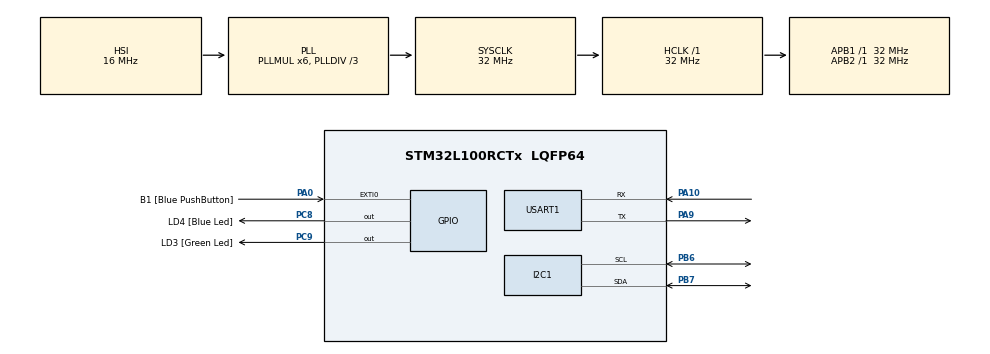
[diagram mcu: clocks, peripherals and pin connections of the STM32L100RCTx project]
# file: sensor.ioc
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Mcu.Family=STM32L1
Mcu.Name=STM32L100RCTx
Mcu.Package=LQFP64
NVIC.PriorityGroup=NVIC_PRIORITYGROUP_0
PA0-WKUP1.GPIO_Label=B1 [Blue PushButton]
PA0-WKUP1.GPIO_ModeDefaultEXTI=GPIO_MODE_EVT_RISING
PA0-WKUP1.Signal=GPXTI0
PA10.Mode=Asynchronous
PA10.Signal=USART1_RX
PA13.GPIO_Label=SWDIO
PA13.Mode=Serial_Wire
PA13.Signal=SYS_JTMS-SWDIO
PA14.GPIO_Label=SWCLK
PA14.Mode=Serial_Wire
PA14.Signal=SYS_JTCK-SWCLK
PA9.Mode=Asynchronous
PA9.Signal=USART1_TX
PB3.GPIO_Label=SWO
PB3.Signal=SYS_JTDO-TRACESWO
PB6.Mode=I2C
PB6.Signal=I2C1_SCL
PB7.Mode=I2C
PB7.Signal=I2C1_SDA
PC14-OSC32_IN.GPIO_Label=PC14-OSC32_IN
PC14-OSC32_IN.Signal=RCC_OSC32_IN
PC15-OSC32_OUT.GPIO_Label=PC15-OSC32_OUT
PC15-OSC32_OUT.Signal=RCC_OSC32_OUT
PC8.GPIO_Label=LD4 [Blue Led]
PC8.Signal=GPIO_Output
PC9.GPIO_Label=LD3 [Green Led]
PC9.Signal=GPIO_Output
PH0-OSC_IN.GPIO_Label=PH0-OSC_IN
PH0-OSC_IN.Mode=HSE-External-Clock-Source
PH0-OSC_IN.Signal=RCC_OSC_IN
PH1-OSC_OUT.GPIO_Label=PH1-OSC_OUT
PH1-OSC_OUT.Signal=RCC_OSC_OUT
ProjectManager.HeapSize=0x200
ProjectManager.StackSize=0x400
ProjectManager.TargetToolchain=STM32CubeIDE
RCC.48MHZClocksFreq_Value=48000000
RCC.AHBFreq_Value=32000000
RCC.APB1Freq_Value=32000000
RCC.APB1TimFreq_Value=32000000
RCC.APB2Freq_Value=32000000
RCC.APB2TimFreq_Value=32000000
RCC.HCLKFreq_Value=32000000
RCC.HSE_VALUE=8000000
RCC.HSI_VALUE=16000000
RCC.LSEState=RCC_LSE_ON
RCC.LSE_VALUE=32768
RCC.MSI_VALUE=2097000
RCC.PLLDIV=RCC_PLL_DIV3
RCC.PLLMUL=RCC_PLL_MUL6
RCC.RTCClockSelectionVirtual=RCC_RTCCLKSOURCE_LSE
RCC.SYSCLKFreq_VALUE=32000000
RCC.SYSCLKSource=RCC_SYSCLKSOURCE_PLLCLK
RCC.USBOutput=48000000
RCC.VCOOutputFreq_Value=96000000
USART1.VirtualMode=VM_ASYNC
board=STM32L100C-DISCO

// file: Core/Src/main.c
/* USER CODE BEGIN Header */
/**
 ******************************************************************************
 * @file           : main.c
 * @brief          : Main program body
 ******************************************************************************
 * @attention
 *
 * <h2><center>&copy; Copyright (c) 2020 STMicroelectronics.
 * All rights reserved.</center></h2>
 *
 * This software component is licensed by ST under BSD 3-Clause license,
 * the "License"; You may not use this file except in compliance with the
 * License. You may obtain a copy of the License at:
 *                        opensource.org/licenses/BSD-3-Clause
 *
 ******************************************************************************
 */
/* USER CODE END Header */

#include "main.h"

/* USER CODE BEGIN Includes */
#include<stdio.h>
#include<string.h>
#include<math.h>
/* USER CODE END Includes */

/* USER CODE BEGIN PM */
#define I2C_SLAVE_ADD 0xd0
#define I2C_REG_ADD_SIZ 0x01
#define WHO_AM_I_REG_ADD 0x75
#define WHO_AM_I_REG_VAL 0x68
#define WAKEUP_REG_ADD 0x6b
#define WAKEUP_REG_VAL 0x00
#define ACC_REG_ADD 0x3b
#define GYRO_REG_ADD 0x43
#define ACC_SEN_CFG_REG 0x1c
#define ACC_SEN_FULL_SCALE_CFG_VAL 0x10
#define GYRO_SEN_CFG_REG 0x1b
#define GYRO_SEN_FULL_SCALE_VAL_REG 0x10

// According to the datasheet
#define ACC_2G_DIV_CONST 16384.0 // For +-2g range, divide raw values by 16384
#define ACC_4G_DIV_CONST 8192.0
#define ACC_8G_DIV_CONST 4096.0
#define ACC_16G_DIV_CONST 2048.0

#define GYRO_250DPS_DIV_CONST 131.0 // For 250deg/s range, divide raw value by 131.0
#define GYRO_500DPS_DIV_CONST 65.5
#define GYRO_1000DPS_DIV_CONST 32.8
#define GYRO_2000DPS_DIV_CONST 16.4

#define PI 3.14
#define NB_EXPERIMENTS 200

// yet to be determined properly via experimentation
#define ACC_X_ERR (+1.472944)
#define ACC_Y_ERR (-3.946817)

#define GYRO_X_ERR (-1.105988)
#define GYRO_Y_ERR (-0.717590)
#define GYRO_Z_ERR (-0.481207)

#define DRIFT 0.04 // 4%
#define ACC_DRIFT DRIFT
#define GYRO_DRIFT (1.00 - ACC_DRIFT)
/* USER CODE END PM */

I2C_HandleTypeDef hi2c1;

UART_HandleTypeDef huart1;

void SystemClock_Config(void);
static void MX_GPIO_Init(void);
static void MX_I2C1_Init(void);
static void MX_USART1_UART_Init(void);

/* USER CODE BEGIN 0 */
void cfgSensorFullScale() {
#ifdef FULL_SCALE_CFG_CODE
	// IN CASE YOU UNCOMMENT THIS, MAKE SURE TO CHANGE ALL THE DIVISIBILITY VALUES AS PER THE DATASHEET FOR FULL SCALE
	// Configure Accelerometer Sensitivity - +/- 8g i,e, Full Scale Range. (default +/- 2g)
	// Reg 0x1C -> 0x10:
	uint_8 accFullScaleCfgVal = ACC_SEN_FULL_SCALE_CFG_VAL;
	HAL_I2C_Mem_Write(&hi2c1, I2C_SLAVE_ADD, ACC_SEN_CFG_REG, I2C_REG_ADD_SIZ, &accFullScaleCfgVal, sizeof(accFullScaleCfgVal), 100);

	// Configure Gyro Sensitivity - 1000deg/s i,e, Full Scale Range (default +/- 250deg/s)
	// Reg 0x1B -> 0x10;
	uint_8 gyroFullScaleCfgVal = GYRO_SEN_FULL_SCALE_VAL_REG;
	HAL_I2C_Mem_Write(&hi2c1, I2C_SLAVE_ADD, GYRO_SEN_CFG_REG, I2C_REG_ADD_SIZ, &gyroFullScaleCfgVal, sizeof(gyroFullScaleCfgVal), 100);
	delay(20);
#endif
}

int normalizeDegrees(float angle){
	int retDeg = ((int)angle) % 360;
	if(retDeg < 0){
		retDeg += 360;
	}
	return retDeg;
}

int decode2sCompliment(uint16_t val){
	return (int)( 0x8000 & val ? (int)( 0x7FFF & val ) - 0x8000 : val );
}

void calSensorErr( void ) {
	// The error values used in the equations are calculated here
	// PLACE SENSOR FLAT INORDER TO GET PROPER VALUES
	float accErrorX = 0.0;
	float accErrorY = 0.0;
	for (int i = 0; i < NB_EXPERIMENTS; ++i) {
		uint8_t accVal[6];
		memset(accVal, 0xff, sizeof(accVal));
		HAL_I2C_Mem_Read(&hi2c1, I2C_SLAVE_ADD, ACC_REG_ADD, I2C_REG_ADD_SIZ, accVal, sizeof(accVal), 100);

		float accX = (float)decode2sCompliment(accVal[0] << 8 | accVal[1]) / ACC_2G_DIV_CONST;
		float accY = (float)decode2sCompliment(accVal[2] << 8 | accVal[3]) / ACC_2G_DIV_CONST;
		float accZ = (float)decode2sCompliment(accVal[4] << 8 | accVal[5]) / ACC_2G_DIV_CONST;
		// Sum all readings
		accErrorX = accErrorX + ((atan((accY) / sqrt(pow((accX), 2) + pow((accZ), 2))) * 180 / PI));
		accErrorY = accErrorY + ((atan(-1 * (accX) / sqrt(pow((accY), 2) + pow((accZ), 2))) * 180 / PI));
	}
	//Divide the sum by NB_EXPERIMENTS to get the error value
	accErrorX = accErrorX / NB_EXPERIMENTS;
	accErrorY = accErrorY / NB_EXPERIMENTS;

	float gyroErrorX = 0.0;
	float gyroErrorY = 0.0;
	float gyroErrorZ = 0.0;

	for (int i = 0; i < NB_EXPERIMENTS; ++i) {
		uint8_t gyroVal[6];
		memset(gyroVal, 0xff, sizeof(gyroVal));
		HAL_I2C_Mem_Read(&hi2c1, I2C_SLAVE_ADD, GYRO_REG_ADD, I2C_REG_ADD_SIZ, gyroVal, sizeof(gyroVal), 100);

		float gyroX = (float)decode2sCompliment(gyroVal[0] << 8 | gyroVal[1]);
		float gyroY = (float)decode2sCompliment(gyroVal[2] << 8 | gyroVal[3]);
		float gyroZ = (float)decode2sCompliment(gyroVal[4] << 8 | gyroVal[5]);
		// Sum all readings
		gyroErrorX = gyroErrorX + (gyroX / GYRO_250DPS_DIV_CONST);
		gyroErrorY = gyroErrorY + (gyroY / GYRO_250DPS_DIV_CONST);
		gyroErrorZ = gyroErrorZ + (gyroZ / GYRO_250DPS_DIV_CONST);
	}
	//Divide the sum by NB_EXPERIMENTS to get the error value
	gyroErrorX = gyroErrorX / NB_EXPERIMENTS;
	gyroErrorY = gyroErrorY / NB_EXPERIMENTS;
	gyroErrorZ = gyroErrorZ / NB_EXPERIMENTS;

	// Print AccErrXY
	char printStr[64] = {0};
	snprintf(printStr, sizeof(printStr), "AccErrXY: %f %f\n", accErrorX, accErrorY);
	HAL_UART_Transmit(&huart1, (uint8_t*)printStr, strlen(printStr), 100);
	// Print GyroErrXYZ
	snprintf(printStr, sizeof(printStr), "GyroErrXYZ: %f %f %f\n", gyroErrorX, gyroErrorY, gyroErrorZ);
	HAL_UART_Transmit(&huart1, (uint8_t*)printStr, strlen(printStr), 100);
}

void printSensorErr( void ){
	// Make sure sensor is perfectly flat
	calSensorErr();
	HAL_Delay(20);
}

void printSensorVal( void ) {
	uint8_t accVal[6];
	memset(accVal, 0xff, sizeof(accVal));
	HAL_I2C_Mem_Read(&hi2c1, I2C_SLAVE_ADD, ACC_REG_ADD, I2C_REG_ADD_SIZ, accVal, sizeof(accVal), 100);

	float accX = (float)decode2sCompliment(accVal[0] << 8 | accVal[1]) / ACC_2G_DIV_CONST;
	float accY = (float)decode2sCompliment(accVal[2] << 8 | accVal[3]) / ACC_2G_DIV_CONST;
	float accZ = (float)decode2sCompliment(accVal[4] << 8 | accVal[5]) / ACC_2G_DIV_CONST;
	// Calculating Roll and Pitch from the accelerometer data
	float accAngleX = (atan(accY / sqrt(pow(accX, 2) + pow(accZ, 2))) * 180 / PI) - ACC_X_ERR; // See the calSensorErr() for more details
	float accAngleY = (atan(-1 * accX / sqrt(pow(accY, 2) + pow(accZ, 2))) * 180 / PI) - ACC_Y_ERR;

	static float prevTim = 0; // tick is in ms
	float curTim = HAL_GetTick();
	float elapsedTime = (curTim - prevTim) / 1000; // /1000 to get seconds
	prevTim = curTim;

	uint8_t gyroVal[6];
	memset(gyroVal, 0xff, sizeof(gyroVal));
	HAL_I2C_Mem_Read(&hi2c1, I2C_SLAVE_ADD, GYRO_REG_ADD, I2C_REG_ADD_SIZ, gyroVal, sizeof(gyroVal), 100);
	float gyroX = (float)decode2sCompliment(gyroVal[0] << 8 | gyroVal[1]) / GYRO_250DPS_DIV_CONST;
	float gyroY = (float)decode2sCompliment(gyroVal[2] << 8 | gyroVal[3]) / GYRO_250DPS_DIV_CONST;
	float gyroZ = (float)decode2sCompliment(gyroVal[4] << 8 | gyroVal[5]) / GYRO_250DPS_DIV_CONST;

	gyroX = gyroX - GYRO_X_ERR;
	gyroY = gyroY - GYRO_Y_ERR;
	gyroZ = gyroZ - GYRO_Z_ERR;

	// raw values are in deg/s, so // deg/s * s = deg
	static float gyroAngleX = 0.0;
	static float gyroAngleY = 0.0;
	static float gyroAngleZ = 0.0;
	gyroAngleX = gyroAngleX + gyroX * elapsedTime; // integrating angular velocity over time to get angle
	gyroAngleY = gyroAngleY + gyroY * elapsedTime;
	gyroAngleZ = gyroAngleZ + gyroZ * elapsedTime;
	int yaw = gyroAngleZ;
	// Complementary filter - combine acceleromter and gyro angle values
	int roll = GYRO_DRIFT * gyroAngleX + ACC_DRIFT * accAngleX;
	int pitch = GYRO_DRIFT * gyroAngleY + ACC_DRIFT * accAngleY;

	char printStr[64] = {0};
	snprintf(printStr, sizeof(printStr), "RPY: %d %d %d\n", roll, pitch, yaw);
	HAL_UART_Transmit(&huart1, (uint8_t*)printStr, strlen(printStr), 100);
}

/* USER CODE END 0 */

int main(void)
{

	/* MCU Configuration--------------------------------------------------------*/

	/* Reset of all peripherals, Initializes the Flash interface and the Systick. */
	HAL_Init();

	/* Configure the system clock */
	SystemClock_Config();

	/* Initialize all configured peripherals */
	MX_GPIO_Init();
	MX_I2C1_Init();
	MX_USART1_UART_Init();
	/* USER CODE BEGIN 2 */
	uint8_t whoAmI = 0;
	HAL_I2C_Mem_Read(&hi2c1, I2C_SLAVE_ADD, WHO_AM_I_REG_ADD, I2C_REG_ADD_SIZ, &whoAmI, sizeof(whoAmI), 100);
	if( whoAmI != WHO_AM_I_REG_VAL ){
		char whoAmIStr[6] = {0, 0, 0, 0, 0, 0};
		snprintf(whoAmIStr, sizeof(whoAmIStr), "0x%x\n", whoAmI);
		HAL_UART_Transmit(&huart1, (uint8_t*)whoAmIStr, strlen(whoAmIStr), 100);
	}

	uint8_t wakeUp = WAKEUP_REG_VAL;
	if( HAL_OK != HAL_I2C_Mem_Write(&hi2c1, I2C_SLAVE_ADD, WAKEUP_REG_ADD, I2C_REG_ADD_SIZ, &wakeUp, sizeof(wakeUp), 100) ){
		char errMsg[32];
		snprintf(errMsg, sizeof(errMsg), "screwed\n");
		HAL_UART_Transmit(&huart1, (uint8_t*)errMsg, strlen(errMsg), 100);
		HAL_GPIO_WritePin(LD3_GPIO_Port, LD3_Pin, GPIO_PIN_SET);
		HAL_GPIO_WritePin(LD4_GPIO_Port, LD4_Pin, GPIO_PIN_SET);
		while(1);
	}

	uint8_t accCfg = 0xff;
	HAL_I2C_Mem_Read(&hi2c1, I2C_SLAVE_ADD, ACC_SEN_CFG_REG, I2C_REG_ADD_SIZ, &accCfg, sizeof(accCfg), 100);
	uint8_t gyroCfg = 0xff;
	HAL_I2C_Mem_Read(&hi2c1, I2C_SLAVE_ADD, GYRO_SEN_CFG_REG, I2C_REG_ADD_SIZ, &gyroCfg, sizeof(gyroCfg), 100);
	char cfgStr[12] = {0};
	snprintf(cfgStr, sizeof(cfgStr), "0x%x 0x%x\n", accCfg, gyroCfg);
	HAL_UART_Transmit(&huart1, (uint8_t*)cfgStr, strlen(cfgStr), 100);

	printSensorErr();

	/* USER CODE END 2 */

	/* Infinite loop */
	while (1)
	{

		/* USER CODE BEGIN 3 */
		printSensorVal();
		HAL_Delay(50);
	}
	/* USER CODE END 3 */
}

void SystemClock_Config(void)
{
	RCC_OscInitTypeDef RCC_OscInitStruct = {0};
	RCC_ClkInitTypeDef RCC_ClkInitStruct = {0};

	/** Configure the main internal regulator output voltage
	 */
	__HAL_PWR_VOLTAGESCALING_CONFIG(PWR_REGULATOR_VOLTAGE_SCALE1);
	/** Initializes the CPU, AHB and APB busses clocks
	 */
	RCC_OscInitStruct.OscillatorType = RCC_OSCILLATORTYPE_HSI;
	RCC_OscInitStruct.HSIState = RCC_HSI_ON;
	RCC_OscInitStruct.HSICalibrationValue = RCC_HSICALIBRATION_DEFAULT;
	RCC_OscInitStruct.PLL.PLLState = RCC_PLL_ON;
	RCC_OscInitStruct.PLL.PLLSource = RCC_PLLSOURCE_HSI;
	RCC_OscInitStruct.PLL.PLLMUL = RCC_PLL_MUL6;
	RCC_OscInitStruct.PLL.PLLDIV = RCC_PLL_DIV3;
	if (HAL_RCC_OscConfig(&RCC_OscInitStruct) != HAL_OK)
	{
		Error_Handler();
	}
	/** Initializes the CPU, AHB and APB busses clocks
	 */
	RCC_ClkInitStruct.ClockType = RCC_CLOCKTYPE_HCLK|RCC_CLOCKTYPE_SYSCLK
			|RCC_CLOCKTYPE_PCLK1|RCC_CLOCKTYPE_PCLK2;
	RCC_ClkInitStruct.SYSCLKSource = RCC_SYSCLKSOURCE_PLLCLK;
	RCC_ClkInitStruct.AHBCLKDivider = RCC_SYSCLK_DIV1;
	RCC_ClkInitStruct.APB1CLKDivider = RCC_HCLK_DIV1;
	RCC_ClkInitStruct.APB2CLKDivider = RCC_HCLK_DIV1;

	if (HAL_RCC_ClockConfig(&RCC_ClkInitStruct, FLASH_LATENCY_1) != HAL_OK)
	{
		Error_Handler();
	}
}

static void MX_I2C1_Init(void)
{

	hi2c1.Instance = I2C1;
	hi2c1.Init.ClockSpeed = 100000;
	hi2c1.Init.DutyCycle = I2C_DUTYCYCLE_2;
	hi2c1.Init.OwnAddress1 = 0;
	hi2c1.Init.AddressingMode = I2C_ADDRESSINGMODE_7BIT;
	hi2c1.Init.DualAddressMode = I2C_DUALADDRESS_DISABLE;
	hi2c1.Init.OwnAddress2 = 0;
	hi2c1.Init.GeneralCallMode = I2C_GENERALCALL_DISABLE;
	hi2c1.Init.NoStretchMode = I2C_NOSTRETCH_DISABLE;
	if (HAL_I2C_Init(&hi2c1) != HAL_OK)
	{
		Error_Handler();
	}

}

static void MX_USART1_UART_Init(void)
{

	huart1.Instance = USART1;
	huart1.Init.BaudRate = 115200;
	huart1.Init.WordLength = UART_WORDLENGTH_8B;
	huart1.Init.StopBits = UART_STOPBITS_1;
	huart1.Init.Parity = UART_PARITY_NONE;
	huart1.Init.Mode = UART_MODE_TX_RX;
	huart1.Init.HwFlowCtl = UART_HWCONTROL_NONE;
	huart1.Init.OverSampling = UART_OVERSAMPLING_16;
	if (HAL_UART_Init(&huart1) != HAL_OK)
	{
		Error_Handler();
	}

}

static void MX_GPIO_Init(void)
{
	GPIO_InitTypeDef GPIO_InitStruct = {0};

	/* GPIO Ports Clock Enable */
	__HAL_RCC_GPIOC_CLK_ENABLE();
	__HAL_RCC_GPIOH_CLK_ENABLE();
	__HAL_RCC_GPIOA_CLK_ENABLE();
	__HAL_RCC_GPIOB_CLK_ENABLE();

	/*Configure GPIO pin Output Level */
	HAL_GPIO_WritePin(GPIOC, LD4_Pin|LD3_Pin, GPIO_PIN_RESET);

	/*Configure GPIO pin : B1_Pin */
	GPIO_InitStruct.Pin = B1_Pin;
	GPIO_InitStruct.Mode = GPIO_MODE_EVT_RISING;
	GPIO_InitStruct.Pull = GPIO_NOPULL;
	HAL_GPIO_Init(B1_GPIO_Port, &GPIO_InitStruct);

	/*Configure GPIO pins : LD4_Pin LD3_Pin */
	GPIO_InitStruct.Pin = LD4_Pin|LD3_Pin;
	GPIO_InitStruct.Mode = GPIO_MODE_OUTPUT_PP;
	GPIO_InitStruct.Pull = GPIO_NOPULL;
	GPIO_InitStruct.Speed = GPIO_SPEED_FREQ_LOW;
	HAL_GPIO_Init(GPIOC, &GPIO_InitStruct);

}

void Error_Handler(void)
{
	/* USER CODE BEGIN Error_Handler_Debug */
	/* User can add his own implementation to report the HAL error return state */
	while(1);
	/* USER CODE END Error_Handler_Debug */
}

/************************ (C) COPYRIGHT STMicroelectronics *****END OF FILE****/
